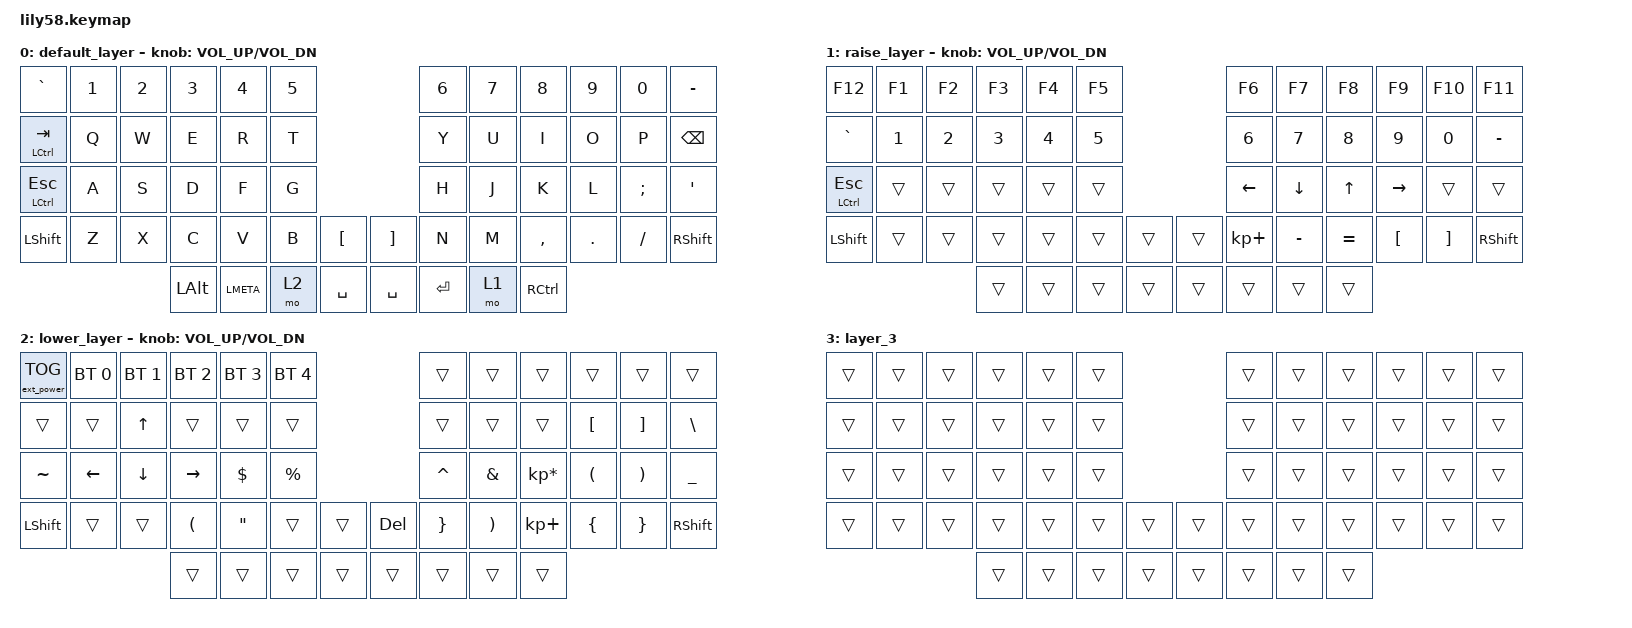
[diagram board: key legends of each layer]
/*
 * Copyright (c) 2020 The ZMK Contributors
 *
 * SPDX-License-Identifier: MIT
 */

#include <behaviors.dtsi>
#include <dt-bindings/zmk/bt.h>
#include <dt-bindings/zmk/ext_power.h>
#include <dt-bindings/zmk/keys.h>

/ {
    // Combo keys are a way to combine multiple keypresses to output a different key.

    combos {
        compatible = "zmk,combos";

        combo_clear_bluetooth {
            timeout-ms = <50>; // Press all the below keys within 50ms to activate mapping
            key-positions = <52 42 0>; // Press 52=LOWER, 42=[, 0=tilde
            bindings = <&bt BT_CLR>; // activate clear bluetooth bindings for current channel
        };
    };

    keymap {
        compatible = "zmk,keymap";

        default_layer {
            // ------------------------------------------------------------------------------------------------------------
            // |   `      |  1  |  2  |  3   |  4   |  5   |                   |  6   |  7    |  8    |  9   |   0   |   -   |
            // |  TAB     |  Q  |  W  |  E   |  R   |  T   |                   |  Y   |  U    |  I    |  O   |   P   |   =   |
            // |hCTRL tESC|  A  |  S  |  D   |  F   |  G   |                   |  H   |  J    |  K    |  L   |   ;   |   '   |
            // | SHIFT    |  Z  |  X  |  C   |  V   |  B   |   "["  |  |  "]"  |  N   |  M    |  ,    |  .   |   /   | SHIFT |
            //                        | ALT  | GUI  | LOWER|  SPACE |  | BSPC  | ENTER| RAISE | CTRL  |

            bindings = <
&kp GRAVE      &kp N1  &kp N2  &kp N3    &kp N4     &kp N5                          &kp N6   &kp N7  &kp N8     &kp N9   &kp N0    &kp MINUS
&mt LCTRL TAB  &kp Q   &kp W   &kp E     &kp R      &kp T                           &kp Y    &kp U   &kp I      &kp O    &kp P     &kp BACKSPACE
&mt LCTRL ESC  &kp A   &kp S   &kp D     &kp F      &kp G                           &kp H    &kp J   &kp K      &kp L    &kp SEMI  &kp SQT
&kp LSHFT      &kp Z   &kp X   &kp C     &kp V      &kp B   &kp LBKT     &kp RBKT   &kp N    &kp M   &kp COMMA  &kp DOT  &kp FSLH  &kp RSHFT
                               &kp LALT  &kp LMETA  &mo 2   &kp SPACE    &kp SPACE  &kp RET  &mo 1   &kp RCTRL
            >;

            sensor-bindings = <&inc_dec_kp C_VOL_UP C_VOL_DN>;
        };

        raise_layer {
            // ------------------------------------------------------------------------------------------------------------
            // |  F12    |  F1 |  F2 |  F3  |  F4  |  F5  |                   |  F6  |   F7  |   F8  |  F9  |  F10  |  F11  |
            // |   `     |  1  |  2  |  3   |  4   |  5   |                   |  6   |   7   |   8   |  9   |   0   |   -   |
            // |CTRL/ESC |     |     |      |      |      |                   |  <-  |   ^   |   v   |  ->  |       |       |
            // | SHIFT   |     |     |      |      |      |        |  |       |  +   |   -   |   =   |  [   |   ]   |   \   |
            //                       |      |      |      |        |  |       |      |       |       |

            bindings = <
&kp F12        &kp F1  &kp F2  &kp F3  &kp F4  &kp F5                    &kp F6       &kp F7     &kp F8     &kp F9     &kp F10   &kp F11
&kp GRAVE      &kp N1  &kp N2  &kp N3  &kp N4  &kp N5                    &kp N6       &kp N7     &kp N8     &kp N9     &kp N0    &kp MINUS
&mt LCTRL ESC  &trans  &trans  &trans  &trans  &trans                    &kp LEFT     &kp DOWN   &kp UP     &kp RIGHT  &trans    &trans
&kp LSHIFT     &trans  &trans  &trans  &trans  &trans  &trans    &trans  &kp KP_PLUS  &kp MINUS  &kp EQUAL  &kp LBKT   &kp RBKT  &kp RIGHT_SHIFT
                               &trans  &trans  &trans  &trans    &trans  &trans       &trans     &trans
            >;

            sensor-bindings = <&inc_dec_kp C_VOL_UP C_VOL_DN>;
        };

        lower_layer {
            // ------------------------------------------------------------------------------------------------------------
            // | EXT PWR TOGGLE | BT1     | BT2    |  BT3 |  BT4  |  BT5 |                    |      |       |       |      |       |       |
            // |                |         |        |      |       |      |                    |      |       |       |      |       |   \   |
            // |   ~            |  !      |  @     |  #   |  $    |  %   |                    |  ^   |  &    |  *    |  (   |   )   |   _   |
            // | SHIFT          |  EP_ON  | EP_OFF |      |  (    |  {   |       |  |   DEL   |  }   |  )    |  +    |  {   |   }   | SHIFT |
            //                                     |      |       |      |       |  |         |      |       |       |

            bindings = <
&ext_power EP_TOG  &bt BT_SEL 0  &bt BT_SEL 1  &bt BT_SEL 2  &bt BT_SEL 3       &bt BT_SEL 4                     &trans     &trans    &trans           &trans            &trans             &trans
&trans             &trans        &kp UP        &trans        &trans             &trans                           &trans     &trans    &trans           &kp LEFT_BRACKET  &kp RIGHT_BRACKET  &kp BSLH
&kp TILDE          &kp LEFT      &kp DOWN      &kp RIGHT     &kp DOLLAR         &kp PRCNT                        &kp CARET  &kp AMPS  &kp KP_MULTIPLY  &kp LPAR          &kp RPAR           &kp UNDER
&kp LSHIFT         &trans        &trans        &kp LPAR      &kp DOUBLE_QUOTES  &trans        &trans    &kp DEL  &kp RBRC   &kp RPAR  &kp KP_PLUS      &kp LBRC          &kp RBRC           &kp RSHFT
                                               &trans        &trans             &trans        &trans    &trans   &trans     &trans    &trans
            >;

            sensor-bindings = <&inc_dec_kp C_VOL_UP C_VOL_DN>;
        };

        layer_3 {
            bindings = <
&trans  &trans  &trans  &trans  &trans  &trans                    &trans  &trans  &trans  &trans  &trans  &trans
&trans  &trans  &trans  &trans  &trans  &trans                    &trans  &trans  &trans  &trans  &trans  &trans
&trans  &trans  &trans  &trans  &trans  &trans                    &trans  &trans  &trans  &trans  &trans  &trans
&trans  &trans  &trans  &trans  &trans  &trans  &trans    &trans  &trans  &trans  &trans  &trans  &trans  &trans
                        &trans  &trans  &trans  &trans    &trans  &trans  &trans  &trans
            >;
        };
    };
};
